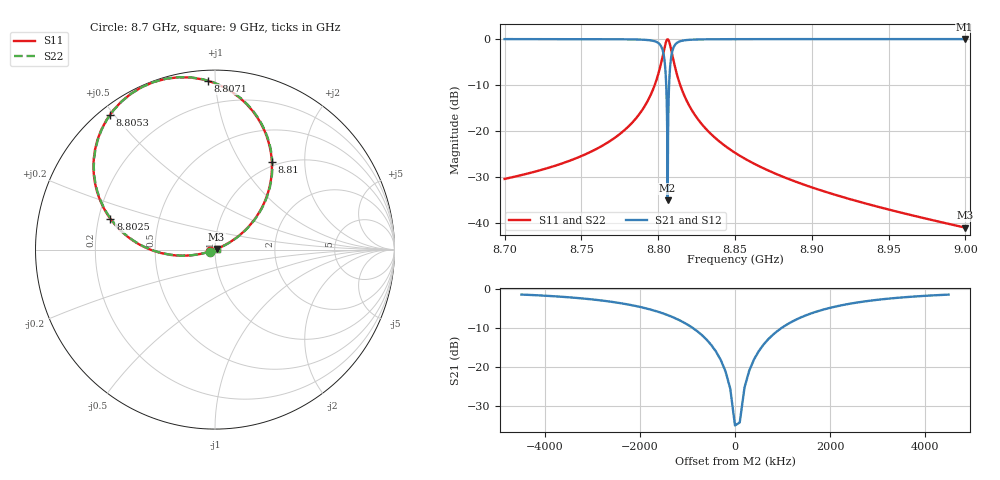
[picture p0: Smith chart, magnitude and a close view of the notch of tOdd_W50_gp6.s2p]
! Sonnet Data File
! From: emgraph Version : 16.52
! From Project: transmon_trial2
! Data is De-embedded
! Data File Written: 10/20/2017 13:43:12
!< HDATE 10/20/2017 10:41:42
!< MDATE 10/20/2017 10:41:42
!< PARAMS
!< Lj = 15.24
!< Gap = 6.0
!< Width = 50.0
!< Airgap = 30.0
!< Pwidth = 2000.0
!< END PARAMS
# GHZ S MA R 45.40000
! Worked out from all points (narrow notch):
!   3001 points, 8.7 GHz to 9 GHz, reference 45.4 ohm
!   highest |S21| = 0.00 dB at 8.9995 GHz (marker M1); lowest = -34.9 dB at 8.8061 GHz (marker M2)
!   notch at M2: 34.9 dB deep, 759 kHz wide at half that depth
!   lowest |S11| = -40.9 dB at 9 GHz (marker M3), VSWR 1.02, Z = 46.2 + j0.305 ohm
!   |S11| at or under -10 dB: start of sweep to 8.7977 GHz; 8.8144 GHz to end of sweep
!   |S22| runs from -40.9 to 0.0 dB; largest |S21 - S12| = 0
!   S11 on the Smith chart (normalised r, x): 8.7 GHz: 0.94, -0.02; 8.8025 GHz: 0.25, +0.14; 8.8053 GHz: 0.03, +0.49; 8.8071 GHz: 0.06, +0.96; 8.81 GHz: 0.94, +1.38; 9 GHz: 1.02, +0.01
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8.7  0.03043 -160.0  0.9995 -69.8  0.9995 -69.8  0.03043 -159.6
!< P1 F=8.7 Eeff=(4.74736053 -6.3969e-5) Z0=(45.1403777 -2.0193e-4) R=0.0 C=0.0
!< P2 F=8.7 Eeff=(4.74736053 -6.3969e-5) Z0=(45.1403777 -2.0193e-4) R=0.0 C=0.0
8.75  0.05385 -161.6  0.9985 -71.5  0.9985 -71.5  0.05385 -161.5
8.7688  0.07867 -163.1  0.9969 -73.1  0.9969 -73.1  0.07867 -163.1
8.7829  0.1231 -165.8  0.9923 -75.8  0.9923 -75.8  0.1231 -165.9
8.7938  0.2238 -171.7  0.9744 -81.7  0.9744 -81.7  0.2238 -171.9
8.8  0.415 176.6  0.9087 -93.4  0.9087 -93.4  0.415 176.4
8.8025  0.6071 163.6  0.792 -106.3  0.792 -106.3  0.6071 163.4
8.804  0.7896 148.7  0.6079 -121.0  0.6079 -121.0  0.7896 148.4
8.8048  0.8961 136.9  0.4335 -132.5  0.4335 -132.5  0.8961 136.7
8.8053  0.9517 128.1  0.2899 -141.0  0.2899 -141.0  0.9517 127.8
8.8061  0.9943 112.2  0.0179 -139.8  0.0179 -139.8  0.9943 112.0
8.8071  0.9411 92.4  0.3231 1.3  0.3231 1.3  0.9411 92.1
8.8083  0.7868 73.5  0.6115 -17.0  0.6115 -17.0  0.7868 73.2
8.81  0.5815 57.0  0.8112 -33.4  0.8112 -33.4  0.5815 56.7
8.8133  0.3582 42.3  0.9329 -48.0  0.9329 -48.0  0.3582 42.0
8.8189  0.2085 33.3  0.9778 -57.0  0.9778 -57.0  0.2085 32.9
8.8314  0.1048 27.2  0.9944 -63.1  0.9944 -63.1  0.1048 26.7
8.85  0.05849 24.4  0.9983 -65.9  0.9983 -65.9  0.05849 23.8
8.9  0.02464 22.4  0.9997 -68.2  0.9997 -68.2  0.02464 21.2
8.95  0.01417 21.7  0.9999 -69.2  0.9999 -69.2  0.01417 19.8
8.9995  0.009045 21.5  1 -69.9  1 -69.9  0.009046 18.7
9  0.009007 21.5  1 -69.9  1 -69.9  0.009007 18.7
